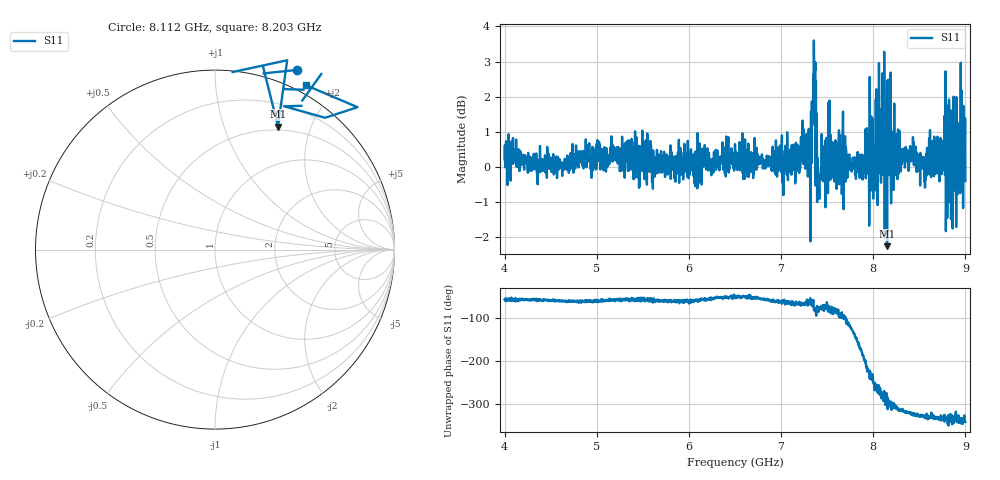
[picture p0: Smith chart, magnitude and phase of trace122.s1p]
! Created with skrf 1.8.0 (http://scikit-rf.org).
# Hz S RI R 50.0
!freq ReS11 ImS11
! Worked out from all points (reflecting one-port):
!   1601 points, 4 GHz to 9 GHz, reference 50 ohm
!   lowest |S11| = -2.3 dB at 8.15 GHz (marker M1), VSWR 7.71, Z = 22.8 + j76.9 ohm
!   phase of S11 starts at -57 deg and turns -286 deg over the sweep
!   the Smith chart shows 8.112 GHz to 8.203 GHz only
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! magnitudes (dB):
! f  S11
! 4 GHz  0.2
! 4.625 GHz  -0.3
! 5.25 GHz  -0.1
! 5.875 GHz  -0.1
! 6.5 GHz  0.6
! 7.125 GHz  0.1
! 7.306 GHz  0.2
! 7.328 GHz  0.3
! 7.347 GHz  1.8
! 7.359 GHz  2.8
! 7.375 GHz  -0.5
! 7.4 GHz  -0.3
! 7.416 GHz  -0.9
! 7.512 GHz  1.8
! 7.556 GHz  0.7
! 7.75 GHz  -0.1
! 7.884 GHz  -0.4
! 7.988 GHz  1.3
! 7.997 GHz  -0.4
! 8.097 GHz  -0.1
! 8.15 GHz  -2.3
! 8.162 GHz  0.8
! 8.216 GHz  0.5
! 8.375 GHz  0.2
! 8.556 GHz  -0.4
! 8.919 GHz  0.2
! 8.956 GHz  -0.2
! 9 GHz  -0.4
